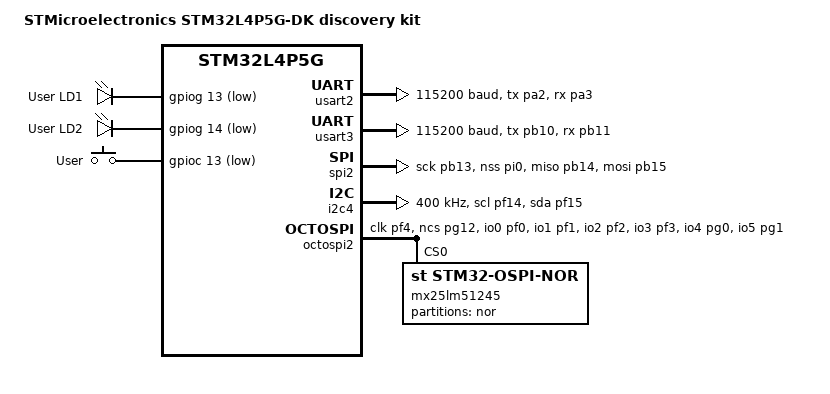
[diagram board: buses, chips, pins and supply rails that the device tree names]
/*
 * Copyright (c) 2023 STMicroelectronics
 *
 * SPDX-License-Identifier: Apache-2.0
 */

/dts-v1/;
#include <st/l4/stm32l4p5Xg.dtsi>
#include <st/l4/stm32l4p5agixp-pinctrl.dtsi>
#include "arduino_r3_connector.dtsi"

/ {
	model = "STMicroelectronics STM32L4P5G-DK discovery kit";
	compatible = "st,stm32l4p5g-dk";

	chosen {
		zephyr,console = &usart2;
		zephyr,shell-uart = &usart2;
		zephyr,sram = &sram0;
		zephyr,flash = &flash0;
		zephyr,code-partition = &slot0_partition;
		zephyr,flash-controller = &mx25lm51245;
	};

	leds {
		compatible = "gpio-leds";
		green_led_1: led_1 {
			gpios = <&gpiog 13 GPIO_ACTIVE_LOW>;
			label = "User LD1";
		};
		blue_led_2: led_2 {
			gpios = <&gpiog 14 GPIO_ACTIVE_LOW>;
			label = "User LD2";
		};
	};

	gpio_keys {
		compatible = "gpio-keys";
		user_button: button {
			label = "User";
			gpios = <&gpioc 13 GPIO_ACTIVE_LOW>;
		};
	};

	aliases {
		led0 = &blue_led_2;
		sw0 = &user_button;
		watchdog0 = &iwdg;
		spi-flash0 = &mx25lm51245;
	};
};

&clk_hsi {
	status = "okay";
};

&clk_lsi {
	status = "okay";
};

&clk_hsi48 {
	status = "okay";
};

&pll {
	div-m = <2>;
	mul-n = <30>;
	div-q = <2>;
	div-r = <2>;
	clocks = <&clk_hsi>;
	status = "okay";
};

&rcc {
	clocks = <&pll>;
	clock-frequency = <DT_FREQ_M(120)>;
	ahb-prescaler = <1>;
	apb1-prescaler = <1>;
	apb2-prescaler = <1>;
};

&usart2 {
	pinctrl-0 = <&usart2_tx_pa2 &usart2_rx_pa3>;
	pinctrl-names = "default";
	current-speed = <115200>;
	status = "okay";
};

&usart3 {
	pinctrl-0 = <&usart3_tx_pb10 &usart3_rx_pb11>;
	pinctrl-names = "default";
	current-speed = <115200>;
	status = "okay";
};

&spi2 {
	pinctrl-0 = <&spi2_sck_pb13 &spi2_nss_pi0
		&spi2_miso_pb14 &spi2_mosi_pb15>;
	pinctrl-names = "default";
	status = "okay";
};

&i2c4 {
	pinctrl-0 = <&i2c4_scl_pf14 &i2c4_sda_pf15>;
	pinctrl-names = "default";
	status = "okay";
	clock-frequency = <I2C_BITRATE_FAST>;
};

&flash0 {

	partitions {
		compatible = "fixed-partitions";
		#address-cells = <1>;
		#size-cells = <1>;

		boot_partition: partition@0 {
			label = "mcuboot";
			reg = <0x00000000 DT_SIZE_K(64)>;
			read-only;
		};

		/*
		 * The flash starting at offset 0x10000 and ending at
		 * offset 0x1ffff is reserved for use by the application.
		 */

		slot0_partition: partition@20000 {
			label = "image-0";
			reg = <0x00020000 DT_SIZE_K(432)>;
		};
		slot1_partition: partition@8c000 {
			label = "image-1";
			reg = <0x0008C000 DT_SIZE_K(432)>;
		};
		scratch_partition: partition@f8000 {
			label = "image-scratch";
			reg = <0x000F8000 DT_SIZE_K(16)>;
		};

		storage_partition: partition@fc000 {
			label = "storage";
			reg = <0x000fc000 DT_SIZE_K(16)>;
		};
	};
};

&octospi2 {
	pinctrl-0 = <&octospim_p2_clk_pf4 &octospim_p2_ncs_pg12
		     &octospim_p2_io0_pf0 &octospim_p2_io1_pf1
		     &octospim_p2_io2_pf2 &octospim_p2_io3_pf3
		     &octospim_p2_io4_pg0 &octospim_p2_io5_pg1
		     &octospim_p2_io6_pg9 &octospim_p2_io7_pg10
		     &octospim_p2_dqs_pf12>;
	pinctrl-names = "default";

	status = "okay";

	mx25lm51245: ospi-nor-flash@0 {
		compatible = "st,stm32-ospi-nor";
		reg = <0>;
		ospi-max-frequency = <DT_FREQ_M(10)>;
		size = <DT_SIZE_M(512)>; /* 64 MBytes */
		spi-bus-width = <OSPI_OPI_MODE>;
		data-rate = <OSPI_DTR_TRANSFER>;
		four-byte-opcodes;
		status = "okay";

		sfdp-bfp = [
			53 46 44 50 06 01 02 ff
			00 06 01 10 30 00 00 ff
			c2 00 01 04 10 01 00 ff
			84 00 01 02 c0 00 00 ff
			00 00 00 00 00 00 00 00
			00 00 00 00 00 00 00 00
			e5 20 fb ff ff ff ff 1f
			44 eb 08 6b 08 3b 04 bb
			fe ff ff ff ff ff 00 ff
			ff ff 44 eb 0c 20 0f 52
			10 d8 00 ff d6 49 c5 00
			81 df 04 e3 44 03 67 38
			30 b0 30 b0 f7 bd d5 5c
			4a 9e 29 ff f0 50 f9 85
			00 00 00 00 00 00 00 00
			00 00 00 00 00 00 00 00
			00 00 00 00 00 00 00 00
			00 00 00 00 00 00 00 00
			00 00 00 00 00 00 00 00
			00 00 00 00 00 00 00 00
			00 00 00 00 00 00 00 00
			00 00 00 00 00 00 00 00
			00 00 00 00 00 00 00 00
			00 00 00 00 00 00 00 00
			7f ef ff ff 21 5c dc ff
	];
			partitions {
			   compatible = "fixed-partitions";
			   #address-cells = <1>;
			   #size-cells = <1>;

			   partition@0 {
			       label = "nor";
			       reg = <0x00000000 DT_SIZE_M(4)>;
			   };
		};
	};
};

&dma1 {
	status = "okay";
};

&dmamux1 {
	status = "okay";
};
